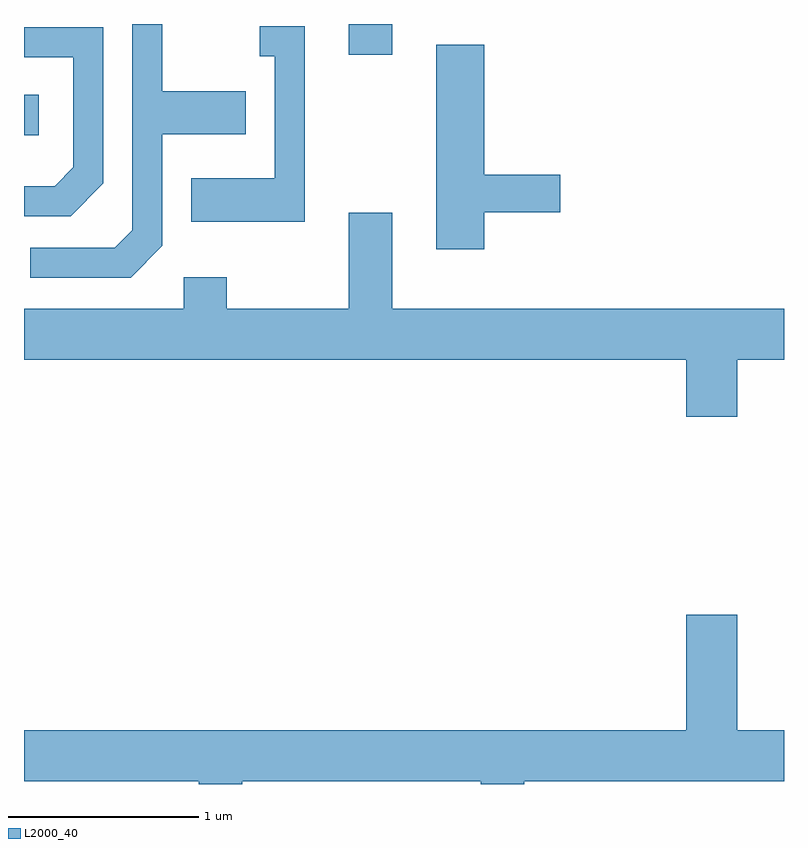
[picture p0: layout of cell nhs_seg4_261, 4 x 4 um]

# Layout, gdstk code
import gdstk
lib = gdstk.Library(unit=1e-6, precision=1e-09)
def R(c, l, rs):  # rectangles x0, y0, x1, y1
    for r in rs: c.add(gdstk.rectangle(r[:2], r[2:], *l))
def P(c, l, *ps):  # polygons
    for p in ps: c.add(gdstk.Polygon(p, *l))
L2000_40 = (2000, 40)

nhs_seg4_261 = lib.new_cell('nhs_seg4_261')
R(nhs_seg4_261, L2000_40, [(191.611,1371.396,191.689,1371.609), (193.321,1371.821,193.549,1371.982)])
P(nhs_seg4_261, L2000_40, [(192.339,1370.814),(192.339,1371.401),(192.779,1371.401),(192.779,1371.629),(192.339,1371.629),(192.339,1371.982),(192.181,1371.982),(192.181,1370.897),(192.089,1370.804),(191.643,1370.804),(191.643,1370.646),(192.172,1370.646)],
  [(193.089,1371.969),(192.853,1371.969),(192.853,1371.811),(192.931,1371.811),(192.931,1371.169),(192.491,1371.169),(192.491,1370.941),(193.089,1370.941)],
  [(192.029,1371.144),(192.029,1371.964),(191.611,1371.964),(191.611,1371.806),(191.871,1371.806),(191.871,1371.227),(191.774,1371.129),(191.611,1371.129),(191.611,1370.971),(191.857,1370.971)],
  [(194.034,1370.991),(194.434,1370.991),(194.434,1371.189),(194.034,1371.189),(194.034,1371.874),(193.781,1371.874),(193.781,1370.796),(194.034,1370.796)],
  [(195.364,1370.216),(195.611,1370.216),(195.611,1370.484),(193.549,1370.484),(193.549,1370.989),(193.321,1370.989),(193.321,1370.484),(192.679,1370.484),(192.679,1370.649),(192.451,1370.649),(192.451,1370.484),(191.611,1370.484),(191.611,1370.216),(195.096,1370.216),(195.096,1369.916),(195.364,1369.916)],
  [(192.759,1367.996),(194.016,1367.996),(194.016,1367.982),(194.244,1367.982),(194.244,1367.996),(195.611,1367.996),(195.611,1368.264),(195.364,1368.264),(195.364,1368.874),(195.096,1368.874),(195.096,1368.264),(191.611,1368.264),(191.611,1367.996),(192.531,1367.996),(192.531,1367.982),(192.759,1367.982)])

lib.write_gds('nhs_seg4_261.gds')
